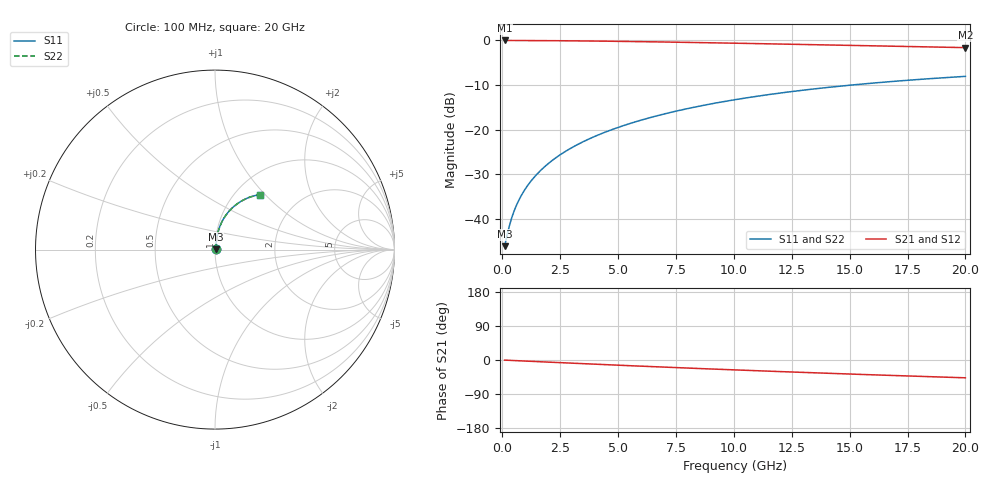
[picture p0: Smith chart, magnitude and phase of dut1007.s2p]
! Touchstone file exported from HFSS 2024.1.0
!  File:  C:/UserFiles/LocalFiles/RDL_TSV_Batchsim/temp_RDL_top_1007_1780042510.aedt
!  Generated:  04:18:36 PM May 29, 2026
!  Design:  RDL_top
!  Project:  temp_RDL_top_1007_1780042510
!  Setup:  Setup1
!  Solution:  Sweep
! Variables:
!  dtsv = 10.80580581um
!  hbump = 3um
!  htsv = 92.36um
!  ldown = 100um
!  lrdl = 692.32um
!  p = 40
!  p1 = 43.96um
!  rhole = 1um
!  t = 450um
!  tdown = 3.915915916um
!  trdl = 2.87um
!  wdown = 15.38538539um
!  wrdl = 20.36um
# GHz S MA R 50.000000
! Terminal data exported
! Port[1] = Box2_T1
! Port[2] = Box2_T2
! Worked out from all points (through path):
!   200 points, 100 MHz to 20 GHz, reference 50 ohm
!   highest |S21| = -0.04 dB at 100 MHz (marker M1); lowest = -1.6 dB at 20 GHz (marker M2)
!   group delay of S21, straight-line fit = 6.5 ps
!   lowest |S11| = -46.1 dB at 100 MHz (marker M3), VSWR 1.01, Z = 50.4 + j0.235 ohm
!   |S11| at or under -10 dB: start of sweep to 15.11 GHz
!   |S22| runs from -46.1 to -8.1 dB; largest |S21 - S12| = 2.6e-15
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0.1  0.004972 27.9  0.9956 -0.3  0.9956 -0.3  0.004972 27.9
! Gamma 0 0 0 0
! Port Impedance 50 0 50 0
0.3  0.008281 54.9  0.9952 -0.9  0.9952 -0.9  0.008281 54.9
0.4  0.01018 60.7  0.9949 -1.2  0.9949 -1.2  0.01018 60.7
0.5  0.0121 64.7  0.9947 -1.4  0.9947 -1.4  0.0121 64.7
0.6  0.01403 67.6  0.9945 -1.7  0.9945 -1.7  0.01403 67.5
0.8  0.01791 71.6  0.994 -2.3  0.994 -2.3  0.01791 71.6
1  0.02184 74.2  0.9936 -2.8  0.9936 -2.8  0.02184 74.2
1.2  0.02581 76.1  0.9931 -3.4  0.9931 -3.4  0.02581 76.1
1.4  0.02982 77.4  0.9925 -4.0  0.9925 -4.0  0.02982 77.4
1.7  0.03589 78.9  0.9917 -4.8  0.9917 -4.8  0.03589 78.8
2.2  0.04616 80.2  0.9899 -6.2  0.9899 -6.2  0.04615 80.2
2.8  0.05867 80.8  0.9872 -7.8  0.9872 -7.8  0.05866 80.8
3.5  0.07349 80.9  0.9835 -9.7  0.9835 -9.7  0.07348 80.9
4.2  0.08853 80.6  0.9791 -11.6  0.9791 -11.6  0.08851 80.5
5  0.1059 79.8  0.9734 -13.7  0.9734 -13.7  0.1059 79.7
6.8  0.1456 77.2  0.9586 -18.3  0.9586 -18.3  0.1456 77.1
8.4  0.1809 74.3  0.9439 -22.3  0.9439 -22.3  0.1808 74.2
10.1  0.2176 70.9  0.9272 -26.3  0.9272 -26.3  0.2174 70.9
11.7  0.2509 67.6  0.9111 -29.9  0.9111 -29.9  0.2506 67.5
13.4  0.2845 64.0  0.8937 -33.7  0.8937 -33.7  0.2842 64.0
16.7  0.3438 57.3  0.8601 -40.5  0.8601 -40.5  0.3434 57.2
20  0.3948 50.9  0.8277 -47.0  0.8277 -47.0  0.3943 50.8
